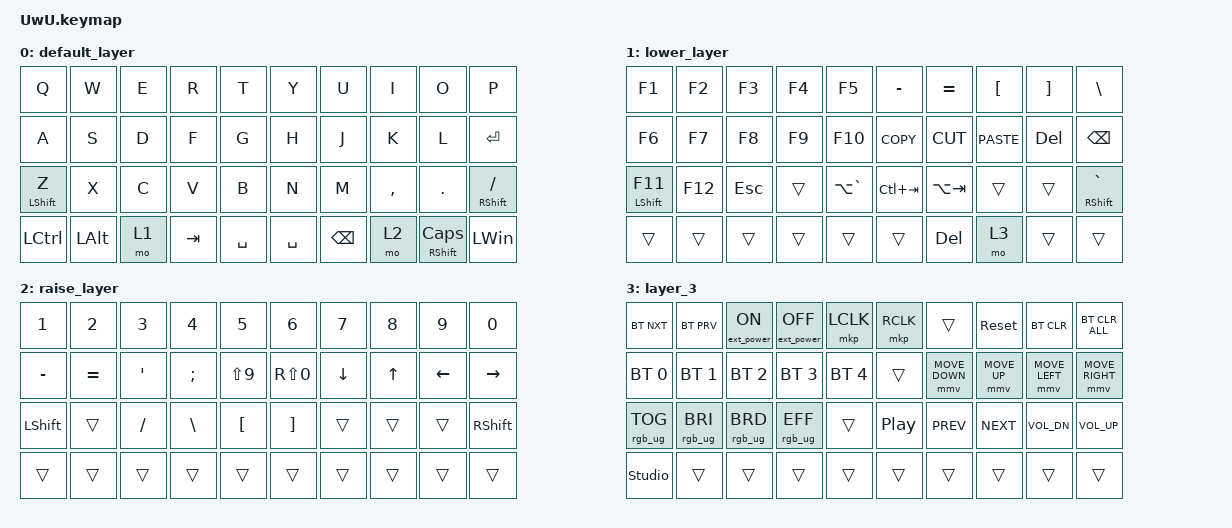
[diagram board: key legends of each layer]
#include <behaviors.dtsi>
#include <dt-bindings/zmk/bt.h>
#include <dt-bindings/zmk/ext_power.h>
#include <dt-bindings/zmk/keys.h>
#include <dt-bindings/zmk/pointing.h>
#include <dt-bindings/zmk/rgb.h>

&led_strip { chain-length = <20>; };

/ {
    keymap {
        compatible = "zmk,keymap";

        default_layer {
            bindings = <
&kp Q         &kp W     &kp E  &kp R    &kp T      &kp Y      &kp U          &kp I      &kp O                     &kp P
&kp A         &kp S     &kp D  &kp F    &kp G      &kp H      &kp J          &kp K      &kp L                     &kp ENTER
&mt LSHIFT Z  &kp X     &kp C  &kp V    &kp B      &kp N      &kp M          &kp COMMA  &kp DOT                   &mt RSHIFT SLASH
&kp LCTRL     &kp LALT  &mo 1  &kp TAB  &kp SPACE  &kp SPACE  &kp BACKSPACE  &mo 2      &mt RIGHT_SHIFT CAPSLOCK  &kp LEFT_WIN
            >;
        };

        lower_layer {
            bindings = <
&kp F1          &kp F2   &kp F3   &kp F4  &kp F5         &kp MINUS    &kp EQUAL    &kp LBKT     &kp RBKT    &kp BSLH
&kp F6          &kp F7   &kp F8   &kp F9  &kp F10        &kp K_COPY   &kp K_CUT    &kp K_PASTE  &kp DELETE  &kp BACKSPACE
&mt LSHIFT F11  &kp F12  &kp ESC  &trans  &kp LA(GRAVE)  &kp LC(TAB)  &kp LA(TAB)  &trans       &trans      &mt RSHIFT GRAVE
&trans          &trans   &trans   &trans  &trans         &trans       &kp DELETE   &mo 3        &trans      &trans
            >;
        };

        raise_layer {
            bindings = <
&kp N1          &kp N2     &kp N3          &kp N4         &kp N5            &kp N6             &kp N7    &kp N8  &kp N9    &kp N0
&kp MINUS       &kp EQUAL  &kp APOSTROPHE  &kp SEMICOLON  &kp LS(N9)        &kp RS(N0)         &kp DOWN  &kp UP  &kp LEFT  &kp RIGHT
&kp LEFT_SHIFT  &trans     &kp SLASH       &kp BACKSLASH  &kp LEFT_BRACKET  &kp RIGHT_BRACKET  &trans    &trans  &trans    &kp RIGHT_SHIFT
&trans          &trans     &trans          &trans         &trans            &trans             &trans    &trans  &trans    &trans
            >;
        };

        layer_3 {
            bindings = <
&bt BT_NXT       &bt BT_PRV       &ext_power EP_ON  &ext_power EP_OFF  &mkp LCLK     &mkp RCLK         &trans          &sys_reset    &bt BT_CLR      &bt BT_CLR_ALL
&bt BT_SEL 0     &bt BT_SEL 1     &bt BT_SEL 2      &bt BT_SEL 3       &bt BT_SEL 4  &trans            &mmv MOVE_DOWN  &mmv MOVE_UP  &mmv MOVE_LEFT  &mmv MOVE_RIGHT
&rgb_ug RGB_TOG  &rgb_ug RGB_BRI  &rgb_ug RGB_BRD   &rgb_ug RGB_EFF    &trans        &kp C_PLAY_PAUSE  &kp C_PREV      &kp C_NEXT    &kp C_VOL_DN    &kp C_VOL_UP
&studio_unlock   &trans           &trans            &trans             &trans        &trans            &trans          &trans        &trans          &trans
            >;
        };
    };
};
